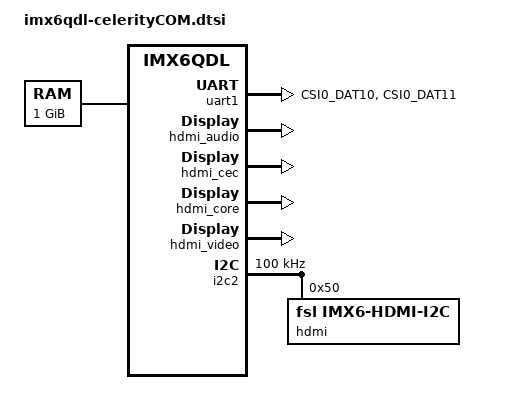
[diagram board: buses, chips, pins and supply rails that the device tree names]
/*
 * Copyright 2013 Freescale Semiconductor, Inc.
 *
 * Author: Fabio Estevam <fabio.estevam@freescale.com>
 *
 * This program is free software; you can redistribute it and/or modify
 * it under the terms of the GNU General Public License version 2 as
 * published by the Free Software Foundation.
 *
 */

/ {
	chosen {
			bootargs ="console=ttymxc0,115200n8 no_console_suspend root=/dev/mmcblk0p1 rw rootwait";
	};

	memory {
		reg = <0x10000000 0x40000000>;
	};

	aliases {
		mxcfb0 = &mxcfb1;
		mxcfb1 = &mxcfb2;
		mxcfb2 = &mxcfb3;
		mxcfb3 = &mxcfb4;
	};

	sound-hdmi {
		compatible = "fsl,imx6q-audio-hdmi",
			     "fsl,imx-audio-hdmi";
		model = "imx-audio-hdmi";
		hdmi-controller = <&hdmi_audio>;
	};

	mxcfb1: fb@0 {
		compatible = "fsl,mxc_sdc_fb";
		disp_dev = "ldb";
		interface_pix_fmt = "RGB666";
		mode_str ="LDB-XGA";
		default_bpp = <16>;
		int_clk = <0>;
		late_init = <0>;
		status = "disabled";
	};

	mxcfb2: fb@1 {
		compatible = "fsl,mxc_sdc_fb";
		disp_dev = "hdmi";
		interface_pix_fmt = "RGB24";
		mode_str ="1920x1080M@60";
		default_bpp = <24>;
		int_clk = <0>;
		late_init = <0>;
		status = "disabled";
	};

	mxcfb3: fb@2 {
		compatible = "fsl,mxc_sdc_fb";
		disp_dev = "lcd";
		interface_pix_fmt = "RGB565";
		mode_str ="CLAA-WVGA";
		default_bpp = <16>;
		int_clk = <0>;
		late_init = <0>;
		status = "disabled";
	};

	mxcfb4: fb@3 {
		compatible = "fsl,mxc_sdc_fb";
		disp_dev = "ldb";
		interface_pix_fmt = "RGB666";
		mode_str ="LDB-XGA";
		default_bpp = <16>;
		int_clk = <0>;
		late_init = <0>;
		status = "disabled";
	};
};

&iomuxc {
	imx6q-celerityCOM {

		pinctrl_uart1: uart1grp {
			fsl,pins = <
				MX6QDL_PAD_CSI0_DAT10__UART1_TX_DATA	0x1b0b1
				MX6QDL_PAD_CSI0_DAT11__UART1_RX_DATA	0x1b0b1
			>;
		};


	};
};

&uart1 {
	pinctrl-names = "default";
	pinctrl-0 = <&pinctrl_uart1>;
	status = "okay";
};


&gpu {
	pu-supply = <&pu_dummy>; /* ldo-bypass:use pu_dummy if VDDSOC share with VDDPU */
};

&hdmi_audio {
	status = "okay";
};

&hdmi_cec {
	pinctrl-names = "default";
	pinctrl-0 = <&pinctrl_hdmi_cec_2>;
	status = "okay";
};

&hdmi_core {
	ipu_id = <0>;
	disp_id = <0>;
	status = "okay";
};

&hdmi_video {
	fsl,phy_reg_vlev = <0x0294>;
	fsl,phy_reg_cksymtx = <0x800d>;
	status = "okay";
};

&i2c2 {
	clock-frequency = <100000>;
	pinctrl-names = "default";
	pinctrl-0 = <&pinctrl_i2c2_2>;
	status = "okay";

	hdmi: edid@50 {
		compatible = "fsl,imx6-hdmi-i2c";
		reg = <0x50>;
	};
};

